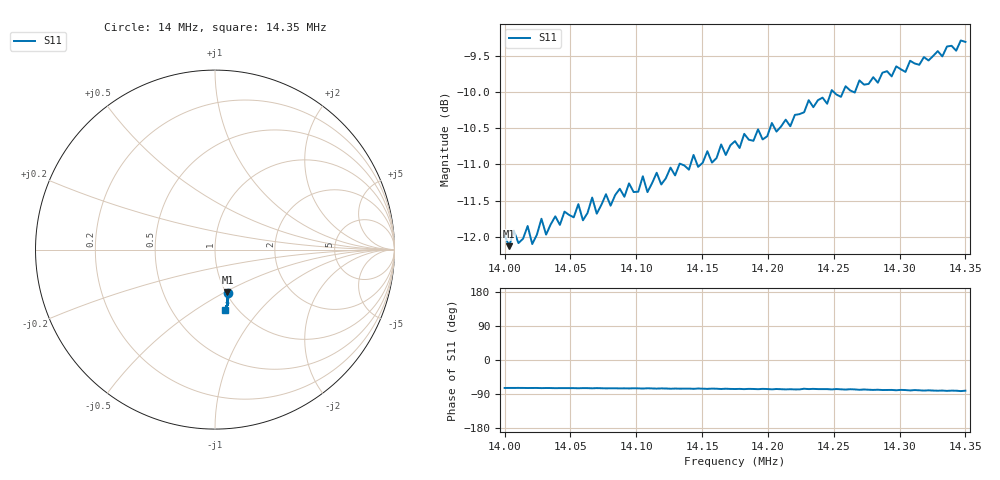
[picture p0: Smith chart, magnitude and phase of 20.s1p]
# Hz S RI R 50
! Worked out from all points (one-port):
!   101 points, 14 MHz to 14.35 MHz, reference 50 ohm
!   lowest |S11| = -12.1 dB at 14.004 MHz (marker M1), VSWR 1.66, Z = 50.9 - j25.7 ohm
!   |S11| at or under -10 dB: start of sweep to 14.248 MHz; 14.25023 MHz to 14.25699 MHz (6.766 kHz wide, 0.0475 % of centre); 14.26561 MHz to 14.26606 MHz (450.1 Hz wide, 0.00316 % of centre)
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1.4e7  0.0703 -0.2417
1.40035e7  0.0694 -0.2374
1.4007e7  0.071 -0.2434
1.40105e7  0.07 -0.2386
1.40175e7  0.0708 -0.2455
1.4021e7  0.0691 -0.2384
1.4028e7  0.0706 -0.2486
1.40315e7  0.0698 -0.2421
1.40455e7  0.0712 -0.2515
1.4056e7  0.0705 -0.255
1.40595e7  0.0706 -0.2479
1.40665e7  0.0707 -0.2578
1.407e7  0.071 -0.2507
1.40875e7  0.0705 -0.2618
1.41015e7  0.0707 -0.2604
1.4105e7  0.0702 -0.2675
1.41085e7  0.0716 -0.26
1.41155e7  0.0698 -0.2692
1.4133e7  0.0699 -0.2734
1.4147e7  0.0714 -0.2715
1.4154e7  0.0685 -0.2796
1.41575e7  0.0711 -0.2736
1.4175e7  0.0679 -0.2845
1.42205e7  0.0652 -0.298
1.42275e7  0.0749 -0.297
1.42625e7  0.0706 -0.3092
1.4308e7  0.0556 -0.3279
1.435e7  0.0537 -0.3385
